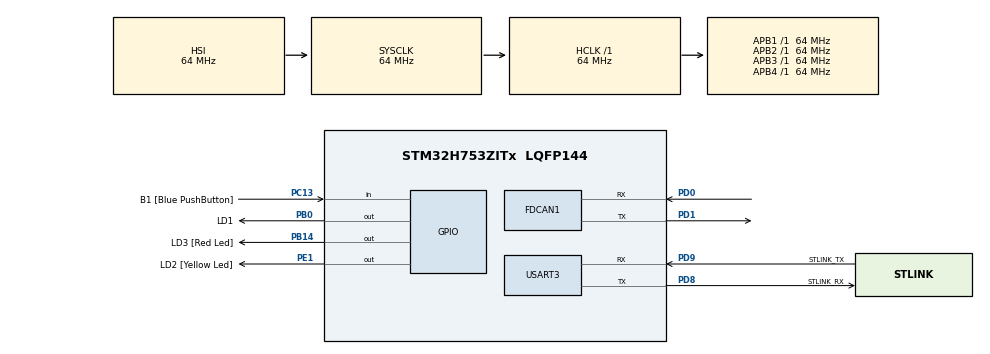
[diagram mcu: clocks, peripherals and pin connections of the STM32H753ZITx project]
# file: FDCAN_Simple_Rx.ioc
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CORTEX_M7.CPU_DCache=Disabled
CORTEX_M7.CPU_ICache=Disabled
CORTEX_M7.MPU_Control=__NULL
CORTEX_M7.default_mode_Activation=1
FDCAN1.AutoRetransmission=ENABLE
FDCAN1.CalculateBaudRateNominal=500000
FDCAN1.CalculateTimeBitNominal=2000
FDCAN1.CalculateTimeQuantumNominal=25.0
FDCAN1.DataPrescaler=16
FDCAN1.DataSyncJumpWidth=2
FDCAN1.DataTimeSeg1=2
FDCAN1.DataTimeSeg2=2
FDCAN1.MessageRAMOffset=1
FDCAN1.NominalPrescaler=1
FDCAN1.NominalSyncJumpWidth=11
FDCAN1.NominalTimeSeg1=68
FDCAN1.NominalTimeSeg2=11
FDCAN1.RxFifo0ElmtsNbr=1
Mcu.Family=STM32H7
Mcu.Name=STM32H753ZITx
Mcu.Package=LQFP144
NVIC.FDCAN1_IT0_IRQn=true\:0\:0\:false\:false\:true\:true\:true\:true
NVIC.PriorityGroup=NVIC_PRIORITYGROUP_4
PB0.GPIO_Label=LD1
PB0.Signal=GPIO_Output
PB14.GPIO_Label=LD3 [Red Led]
PB14.Signal=GPIO_Output
PC13.GPIO_Label=B1 [Blue PushButton]
PC13.Signal=GPIO_Input
PC14-OSC32_IN\ (OSC32_IN).Signal=RCC_OSC32_IN
PC15-OSC32_OUT\ (OSC32_OUT).Signal=RCC_OSC32_OUT
PD0.Mode=FDCAN_Activate
PD0.Signal=FDCAN1_RX
PD1.Mode=FDCAN_Activate
PD1.Signal=FDCAN1_TX
PD8.GPIO_Label=STLINK_RX
PD8.Mode=Asynchronous
PD8.Signal=USART3_TX
PD9.GPIO_Label=STLINK_TX
PD9.Mode=Asynchronous
PD9.Signal=USART3_RX
PE1.GPIO_Label=LD2 [Yellow Led]
PE1.Signal=GPIO_Output
PH0-OSC_IN\ (PH0).Signal=RCC_OSC_IN
PH1-OSC_OUT\ (PH1).Signal=RCC_OSC_OUT
ProjectManager.HeapSize=0x200
ProjectManager.StackSize=0x400
ProjectManager.TargetToolchain=STM32CubeIDE
RCC.ADCFreq_Value=129000000
RCC.APB1Freq_Value=64000000
RCC.APB2Freq_Value=64000000
RCC.APB3Freq_Value=64000000
RCC.APB4Freq_Value=64000000
RCC.CortexFreq_Value=64000000
RCC.DIVM1=4
RCC.DIVN1=10
RCC.DIVQ1=4
RCC.HCLKFreq_Value=64000000
RCC.HSE_VALUE=8000000
RCC.PLLFRACN=0
RCC.PWR_Regulator_Voltage_Scale=PWR_REGULATOR_VOLTAGE_SCALE2
RCC.SYSCLKFreq_VALUE=64000000
RCC.USBFreq_Value=40000000
USART3.VirtualMode-Asynchronous=VM_ASYNC
VP_MEMORYMAP_VS_MEMORYMAP.Mode=CurAppReg
board=NUCLEO-H753ZI

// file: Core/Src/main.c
/* USER CODE BEGIN Header */
/**
  ******************************************************************************
  * @file           : main.c
  * @brief          : Main program body
  ******************************************************************************
  * @attention
  *
  * Copyright (c) 2025 STMicroelectronics.
  * All rights reà traversserved.
  *
  * This software is licensed under terms that can be found in the LICENSE file
  * in the root directory of this software component.
  * If no LICENSE file comes with this software, it is provided AS-IS.
  *
  ******************************************************************************
  */
/* USER CODE END Header */
#include "main.h"

/* USER CODE BEGIN Includes */
#include "string.h"
#include "stdio.h"

#define NODE_A_ID 1
#define NODE_B_ID 2

#define ID_NODE_A_TX 0x100
#define ID_NODE_A_RX 0x101
#define ID_NODE_B_TX 0x101
#define ID_NODE_B_RX 0x100

/* USER CODE END Includes */

FDCAN_HandleTypeDef hfdcan1;

UART_HandleTypeDef huart3;

/* USER CODE BEGIN PV */

uint8_t Node_ID = NODE_B_ID;
//uint8_t led_on = 0;
//uint32_t led_start_time = 0;

// Datos CAN

FDCAN_RxHeaderTypeDef RxHeader;
uint8_t RxData[64];

float received_float_1;
float received_float_2;
float received_float_3;
float received_float_4;
float received_float_5;
float received_float_6;
float received_float_7;
float received_float_8;
char msg[400];

//uint16_t received_int_1;

//char msg[50]; // Buffer para el mensaje con el valor del botón

void HAL_FDCAN_RxFifo0Callback(FDCAN_HandleTypeDef *hfdcan, uint32_t RxFifo0ITs)
{
  if ((RxFifo0ITs & FDCAN_IT_RX_FIFO0_NEW_MESSAGE) != 0)
  {

	    HAL_FDCAN_GetRxMessage(hfdcan, FDCAN_RX_FIFO0, &RxHeader, RxData);

	    memcpy(&received_float_1, &RxData[0], sizeof(float));
	    memcpy(&received_float_2, &RxData[4], sizeof(float));
	    memcpy(&received_float_3, &RxData[8], sizeof(float));
	    memcpy(&received_float_4, &RxData[12], sizeof(float));
	    memcpy(&received_float_5, &RxData[16], sizeof(float));
	    memcpy(&received_float_6, &RxData[20], sizeof(float));
	    memcpy(&received_float_7, &RxData[24], sizeof(float));
	    memcpy(&received_float_8, &RxData[28], sizeof(float));
	    /*
	    received_int_1 = (RxData[8] << 24) | (RxData[9] << 16) |
	                     (RxData[10] << 8) | RxData[11];
		*/

	    int len = snprintf(msg, sizeof(msg), "Received: Temperature: %.2f, Humidity: %.2f \r\n Angle: %.2f \r\n Ax: %.2f, Ay: %.2f Az: %.2f \r\n Float1: %.2f Float2: %.2f  \r\n", received_float_1, received_float_2, received_float_3, received_float_4, received_float_5, received_float_6, received_float_7,received_float_8);
	    HAL_UART_Transmit(&huart3, (uint8_t *)msg, len, HAL_MAX_DELAY);

	    /*
	    HAL_FDCAN_GetRxMessage(hfdcan, FDCAN_RX_FIFO0, &RxHeader, RxData);
	    memcpy(&received_float, RxData, sizeof(float));

	    char msg[50];
	    sprintf(msg, "Float recibido: %.4f\r\n", received_float);
	    HAL_UART_Transmit(&huart3, (uint8_t*)msg, strlen(msg), HAL_MAX_DELAY)
	    */

  }
}

/* USER CODE END PV */

void SystemClock_Config(void);
static void MX_GPIO_Init(void);
static void MX_FDCAN1_Init(void);
static void MX_USART3_UART_Init(void);

int main(void)
{

  /* MCU Configuration--------------------------------------------------------*/

  /* Reset of all peripherals, Initializes the Flash interface and the Systick. */
  HAL_Init();

  /* Configure the system clock */
  SystemClock_Config();

  /* Initialize all configured peripherals */
  MX_GPIO_Init();
  MX_FDCAN1_Init();
  MX_USART3_UART_Init();
  /* USER CODE BEGIN 2 */

  // Filtro: aceptar solo mensajes con ID del otro nodo

  // Configurar el filtro para recibir solo del otro nodo
  FDCAN_FilterTypeDef sFilterConfig;
  sFilterConfig.IdType = FDCAN_STANDARD_ID;
  sFilterConfig.FilterIndex = 0;
  sFilterConfig.FilterType = FDCAN_FILTER_MASK;
  sFilterConfig.FilterConfig = FDCAN_FILTER_TO_RXFIFO0;
  sFilterConfig.FilterID1 = ID_NODE_B_RX;
  sFilterConfig.FilterID2 = 0x7FF;
  HAL_FDCAN_ConfigFilter(&hfdcan1, &sFilterConfig);

  HAL_FDCAN_Start(&hfdcan1);
  HAL_FDCAN_ActivateNotification(&hfdcan1, FDCAN_IT_RX_FIFO0_NEW_MESSAGE, 0);

  /* USER CODE END 2 */

  /* Infinite loop */
  while (1)
  {

    /* USER CODE BEGIN 3 */

	    // === Control LED encendido temporal ===

	  /*
	    if (led_on && (HAL_GetTick() - led_start_time >= 500))
	    {
	      HAL_GPIO_WritePin(GPIOB, LD1_Pin, GPIO_PIN_RESET);
	      led_on = 0;
	    }

		  sprintf(msg, "N7 Racing Team - State: %d \n\r", led_on);
		  HAL_UART_Transmit(&huart3, (uint8_t*)msg, strlen(msg), 10);
		  HAL_Delay(500);
	  */

  }
  /* USER CODE END 3 */
}

void SystemClock_Config(void)
{
  RCC_OscInitTypeDef RCC_OscInitStruct = {0};
  RCC_ClkInitTypeDef RCC_ClkInitStruct = {0};

  /** Supply configuration update enable
  */
  HAL_PWREx_ConfigSupply(PWR_LDO_SUPPLY);

  /** Configure the main internal regulator output voltage
  */
  __HAL_PWR_VOLTAGESCALING_CONFIG(PWR_REGULATOR_VOLTAGE_SCALE2);

  while(!__HAL_PWR_GET_FLAG(PWR_FLAG_VOSRDY)) {}

  /** Initializes the RCC Oscillators according to the specified parameters
  * in the RCC_OscInitTypeDef structure.
  */
  RCC_OscInitStruct.OscillatorType = RCC_OSCILLATORTYPE_HSI;
  RCC_OscInitStruct.HSIState = RCC_HSI_DIV1;
  RCC_OscInitStruct.HSICalibrationValue = RCC_HSICALIBRATION_DEFAULT;
  RCC_OscInitStruct.PLL.PLLState = RCC_PLL_ON;
  RCC_OscInitStruct.PLL.PLLSource = RCC_PLLSOURCE_HSI;
  RCC_OscInitStruct.PLL.PLLM = 4;
  RCC_OscInitStruct.PLL.PLLN = 10;
  RCC_OscInitStruct.PLL.PLLP = 2;
  RCC_OscInitStruct.PLL.PLLQ = 4;
  RCC_OscInitStruct.PLL.PLLR = 2;
  RCC_OscInitStruct.PLL.PLLRGE = RCC_PLL1VCIRANGE_3;
  RCC_OscInitStruct.PLL.PLLVCOSEL = RCC_PLL1VCOMEDIUM;
  RCC_OscInitStruct.PLL.PLLFRACN = 0;
  if (HAL_RCC_OscConfig(&RCC_OscInitStruct) != HAL_OK)
  {
    Error_Handler();
  }

  /** Initializes the CPU, AHB and APB buses clocks
  */
  RCC_ClkInitStruct.ClockType = RCC_CLOCKTYPE_HCLK|RCC_CLOCKTYPE_SYSCLK
                              |RCC_CLOCKTYPE_PCLK1|RCC_CLOCKTYPE_PCLK2
                              |RCC_CLOCKTYPE_D3PCLK1|RCC_CLOCKTYPE_D1PCLK1;
  RCC_ClkInitStruct.SYSCLKSource = RCC_SYSCLKSOURCE_HSI;
  RCC_ClkInitStruct.SYSCLKDivider = RCC_SYSCLK_DIV1;
  RCC_ClkInitStruct.AHBCLKDivider = RCC_HCLK_DIV1;
  RCC_ClkInitStruct.APB3CLKDivider = RCC_APB3_DIV1;
  RCC_ClkInitStruct.APB1CLKDivider = RCC_APB1_DIV1;
  RCC_ClkInitStruct.APB2CLKDivider = RCC_APB2_DIV1;
  RCC_ClkInitStruct.APB4CLKDivider = RCC_APB4_DIV1;

  if (HAL_RCC_ClockConfig(&RCC_ClkInitStruct, FLASH_LATENCY_1) != HAL_OK)
  {
    Error_Handler();
  }
}

static void MX_FDCAN1_Init(void)
{

  hfdcan1.Instance = FDCAN1;
  hfdcan1.Init.FrameFormat = FDCAN_FRAME_FD_NO_BRS;
  hfdcan1.Init.Mode = FDCAN_MODE_NORMAL;
  hfdcan1.Init.AutoRetransmission = ENABLE;
  hfdcan1.Init.TransmitPause = DISABLE;
  hfdcan1.Init.ProtocolException = DISABLE;
  hfdcan1.Init.NominalPrescaler = 1;
  hfdcan1.Init.NominalSyncJumpWidth = 11;
  hfdcan1.Init.NominalTimeSeg1 = 68;
  hfdcan1.Init.NominalTimeSeg2 = 11;
  hfdcan1.Init.DataPrescaler = 16;
  hfdcan1.Init.DataSyncJumpWidth = 2;
  hfdcan1.Init.DataTimeSeg1 = 2;
  hfdcan1.Init.DataTimeSeg2 = 2;
  hfdcan1.Init.MessageRAMOffset = 1;
  hfdcan1.Init.StdFiltersNbr = 0;
  hfdcan1.Init.ExtFiltersNbr = 0;
  hfdcan1.Init.RxFifo0ElmtsNbr = 1;
  hfdcan1.Init.RxFifo0ElmtSize = FDCAN_DATA_BYTES_32;
  hfdcan1.Init.RxFifo1ElmtsNbr = 0;
  hfdcan1.Init.RxFifo1ElmtSize = FDCAN_DATA_BYTES_32;
  hfdcan1.Init.RxBuffersNbr = 0;
  hfdcan1.Init.RxBufferSize = FDCAN_DATA_BYTES_32;
  hfdcan1.Init.TxEventsNbr = 0;
  hfdcan1.Init.TxBuffersNbr = 0;
  hfdcan1.Init.TxFifoQueueElmtsNbr = 0;
  hfdcan1.Init.TxFifoQueueMode = FDCAN_TX_FIFO_OPERATION;
  hfdcan1.Init.TxElmtSize = FDCAN_DATA_BYTES_32;
  if (HAL_FDCAN_Init(&hfdcan1) != HAL_OK)
  {
    Error_Handler();
  }

}

static void MX_USART3_UART_Init(void)
{

  huart3.Instance = USART3;
  huart3.Init.BaudRate = 115200;
  huart3.Init.WordLength = UART_WORDLENGTH_8B;
  huart3.Init.StopBits = UART_STOPBITS_1;
  huart3.Init.Parity = UART_PARITY_NONE;
  huart3.Init.Mode = UART_MODE_TX_RX;
  huart3.Init.HwFlowCtl = UART_HWCONTROL_NONE;
  huart3.Init.OverSampling = UART_OVERSAMPLING_16;
  huart3.Init.OneBitSampling = UART_ONE_BIT_SAMPLE_DISABLE;
  huart3.Init.ClockPrescaler = UART_PRESCALER_DIV1;
  huart3.AdvancedInit.AdvFeatureInit = UART_ADVFEATURE_NO_INIT;
  if (HAL_UART_Init(&huart3) != HAL_OK)
  {
    Error_Handler();
  }
  if (HAL_UARTEx_SetTxFifoThreshold(&huart3, UART_TXFIFO_THRESHOLD_1_8) != HAL_OK)
  {
    Error_Handler();
  }
  if (HAL_UARTEx_SetRxFifoThreshold(&huart3, UART_RXFIFO_THRESHOLD_1_8) != HAL_OK)
  {
    Error_Handler();
  }
  if (HAL_UARTEx_DisableFifoMode(&huart3) != HAL_OK)
  {
    Error_Handler();
  }

}

static void MX_GPIO_Init(void)
{
  GPIO_InitTypeDef GPIO_InitStruct = {0};

  /* GPIO Ports Clock Enable */
  __HAL_RCC_GPIOC_CLK_ENABLE();
  __HAL_RCC_GPIOH_CLK_ENABLE();
  __HAL_RCC_GPIOB_CLK_ENABLE();
  __HAL_RCC_GPIOD_CLK_ENABLE();
  __HAL_RCC_GPIOE_CLK_ENABLE();

  /*Configure GPIO pin Output Level */
  HAL_GPIO_WritePin(GPIOB, LD1_Pin|LD3_Pin, GPIO_PIN_RESET);

  /*Configure GPIO pin Output Level */
  HAL_GPIO_WritePin(LD2_GPIO_Port, LD2_Pin, GPIO_PIN_RESET);

  /*Configure GPIO pin : B1_Pin */
  GPIO_InitStruct.Pin = B1_Pin;
  GPIO_InitStruct.Mode = GPIO_MODE_INPUT;
  GPIO_InitStruct.Pull = GPIO_NOPULL;
  HAL_GPIO_Init(B1_GPIO_Port, &GPIO_InitStruct);

  /*Configure GPIO pins : LD1_Pin LD3_Pin */
  GPIO_InitStruct.Pin = LD1_Pin|LD3_Pin;
  GPIO_InitStruct.Mode = GPIO_MODE_OUTPUT_PP;
  GPIO_InitStruct.Pull = GPIO_NOPULL;
  GPIO_InitStruct.Speed = GPIO_SPEED_FREQ_LOW;
  HAL_GPIO_Init(GPIOB, &GPIO_InitStruct);

  /*Configure GPIO pin : LD2_Pin */
  GPIO_InitStruct.Pin = LD2_Pin;
  GPIO_InitStruct.Mode = GPIO_MODE_OUTPUT_PP;
  GPIO_InitStruct.Pull = GPIO_NOPULL;
  GPIO_InitStruct.Speed = GPIO_SPEED_FREQ_LOW;
  HAL_GPIO_Init(LD2_GPIO_Port, &GPIO_InitStruct);

}

void Error_Handler(void)
{
  __disable_irq();
  while (1)
  {
  }
}
